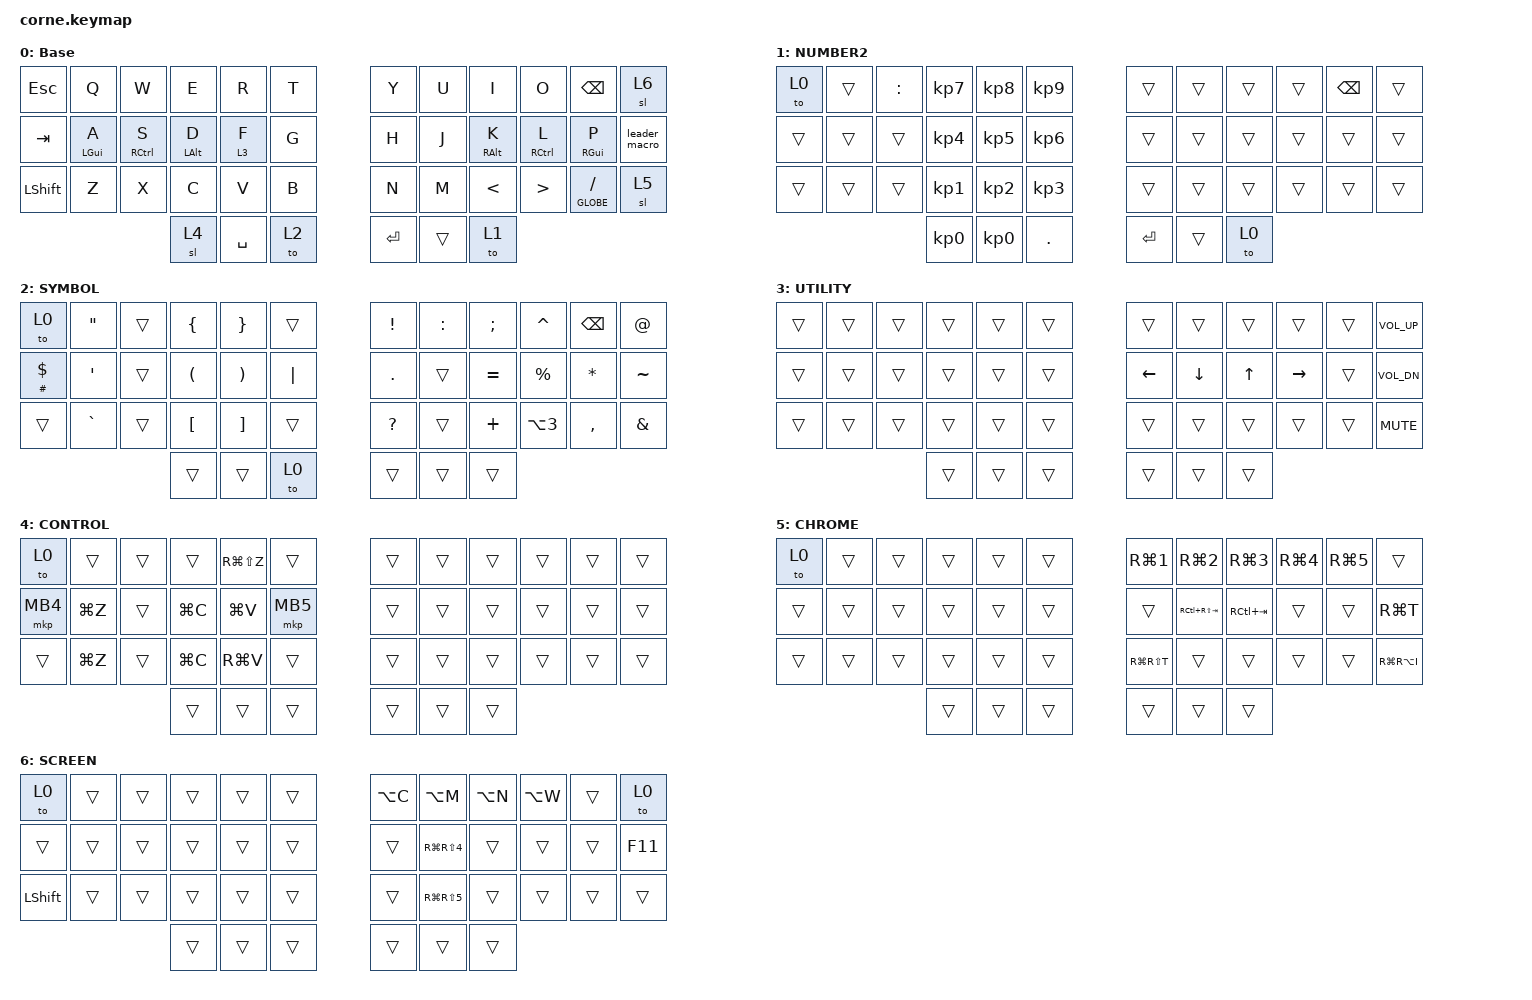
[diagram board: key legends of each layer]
/*
 * Copyright (c) 2020 The ZMK Contributors
 *
 * SPDX-License-Identifier: MIT
 *
 */

#include <behaviors.dtsi>
#include <dt-bindings/zmk/bt.h>
#include <dt-bindings/zmk/keys.h>
#include <dt-bindings/zmk/pointing.h>

/ {
    combos {
        compatible = "zmk,combos";

        bt_1 {
            bindings = <&bt BT_NXT>;
            key-positions = <1 2 3 4>;
            timeout-ms = <100>;
            require-prior-idle-ms = <250>;
        };

        bt_2 {
            bindings = <&bt BT_CLR>;
            key-positions = <28 27 26 25>;
            timeout-ms = <100>;
            require-prior-idle-ms = <250>;
        };

        cancel_term {
            bindings = <&kp LC(C)>;
            key-positions = <6 5>;
            timeout-ms = <50>;
        };

        zoom_plus {
            bindings = <&kp RG(PLUS)>;
            key-positions = <7 8 9>;
            timeout-ms = <100>;
            require-prior-idle-ms = <250>;
            layers = <0>;
        };

        zoom_out {
            bindings = <&kp RG(MINUS)>;
            key-positions = <31 32 33>;
            timeout-ms = <100>;
            require-prior-idle-ms = <250>;
            layers = <0>;
        };

        underscore {
            bindings = <&kp UNDER>;
            key-positions = <31 32>;
            layers = <2 0>;
            timeout-ms = <80>;
        };

        dash {
            bindings = <&kp MINUS>;
            key-positions = <7 8>;
            layers = <2 0>;
            timeout-ms = <80>;
        };

        forward_slash {
            bindings = <&kp SLASH>;
            key-positions = <19 8>;
            timeout-ms = <80>;
            layers = <2 0>;
        };

        back_slash {
            bindings = <&kp BACKSLASH>;
            key-positions = <7 20>;
            timeout-ms = <80>;
            layers = <2 0>;
        };
    };

    macros {
        copy_all: copy_all {
            compatible = "zmk,behavior-macro";
            #binding-cells = <0>;
            bindings = <&kp RG(A) &kp RG(C)>;
            label = "COPY_ALL";
        };

        arrow_right: arrow_right {
            compatible = "zmk,behavior-macro";
            #binding-cells = <0>;
            bindings = <&kp MINUS &kp GT>;
            label = "ARROW_RIGHT";
        };

        leader_macro: leader_macro {
            compatible = "zmk,behavior-macro";
            #binding-cells = <0>;
            bindings = <&kp RC(Z) &kp RC(B)>;
            label = "LEADER_MACRO";
        };

        toggle_vim: toggle_vim {
            compatible = "zmk,behavior-macro";
            #binding-cells = <0>;
            bindings = <&kp F18>;
            label = "TOGGLE_VIM";
        };
    };

    behaviors {
        tap_dance: tap_dance {
            compatible = "zmk,behavior-hold-tap";
            label = "TAP_DANCE";
            bindings = <&kp>, <&kp>;

            #binding-cells = <2>;
            tapping-term-ms = <250>;
            flavor = "tap-preferred";
            hold-trigger-key-positions = <24>;
        };

        Hrm: Hrm {
            compatible = "zmk,behavior-hold-tap";
            label = "HRM";
            bindings = <&kp>, <&kp>;

            #binding-cells = <2>;
            tapping-term-ms = <400>;
            flavor = "tap-preferred";
            quick-tap-ms = <400>;
            require-prior-idle-ms = <400>;
        };
    };

    keymap {
        compatible = "zmk,keymap";

        base {
            // -----------------------------------------------------------------------------------------
            // |  TAB |  Q  |  W  |  E  |  R  |  T  |   |  Y  |  U   |  I  |  O  |  P  | BKSP |
            // | CTRL |  A  |  S  |  D  |  F  |  G  |   |  H  |  J   |  K  |  L  |  ;  |  '   |
            // | SHFT |  Z  |  X  |  C  |  V  |  B  |   |  N  |  M   |  ,  |  .  |  /  | ESC  |
            //                    | GUI | LWR | SPC |   | ENT | RSE  | ALT |

            label = "Base";
            bindings = <
&kp ESC         &kp Q            &kp W         &kp E            &kp R      &kp T    &kp Y      &kp U   &kp I             &kp O             &kp BACKSPACE     &sl 6
&kp TAB         &Hrm LEFT_GUI A  &Hrm RCTRL S  &Hrm LEFT_ALT D  &lt 3 F    &kp G    &kp H      &kp J   &Hrm RIGHT_ALT K  &Hrm RCTRL L      &Hrm RIGHT_GUI P  &leader_macro
&kp LEFT_SHIFT  &kp Z            &kp X         &kp C            &kp V      &kp B    &kp N      &kp M   &kp LT            &kp GREATER_THAN  &mt GLOBE SLASH   &sl 5
                                               &sl 4            &kp SPACE  &to 2    &kp ENTER  &trans  &to 1
            >;
        };

        NUMBER2 {
            bindings = <
&to 0   &trans  &kp COLON  &kp KP_N7        &kp KP_N8        &kp KP_N9          &trans     &trans  &trans  &trans  &kp BACKSPACE  &trans
&trans  &trans  &trans     &kp KP_N4        &kp KP_NUMBER_5  &kp KP_NUMBER_6    &trans     &trans  &trans  &trans  &trans         &trans
&trans  &trans  &trans     &kp KP_N1        &kp KP_N2        &kp KP_N3          &trans     &trans  &trans  &trans  &trans         &trans
                           &kp KP_NUMBER_0  &kp KP_N0        &kp DOT            &kp ENTER  &trans  &to 0
            >;

            label = "NUMBER2";
        };

        SYMBOL {
            // -----------------------------------------------------------------------------------------
            // |  TAB |  !  |  @  |  #  |  $  |  %  |   |  ^  |  &  |  *  |  (  |  )  | BKSP |
            // | CTRL |     |     |     |     |     |   |  -  |  =  |  [  |  ]  |  \  |  `   |
            // | SHFT |     |     |     |     |     |   |  _  |  +  |  {  |  }  | "|" |  ~   |
            //                    | GUI |     | SPC |   | ENT |     | ALT |

            label = "SYMBOL";
            bindings = <
&to 0                   &kp DOUBLE_QUOTES  &trans  &kp LEFT_BRACE        &kp RIGHT_BRACE        &trans      &kp EXCLAMATION  &kp COLON  &kp SEMICOLON  &kp CARET         &kp BACKSPACE  &kp AT
&tap_dance HASH DOLLAR  &kp SINGLE_QUOTE   &trans  &kp LEFT_PARENTHESIS  &kp RIGHT_PARENTHESIS  &kp PIPE    &kp PERIOD       &trans     &kp EQUAL      &kp PERCENT       &kp ASTRK      &kp TILDE
&trans                  &kp GRAVE          &trans  &kp LEFT_BRACKET      &kp RIGHT_BRACKET      &trans      &kp QUESTION     &trans     &kp PLUS       &kp LA(NUMBER_3)  &kp COMMA      &kp AMPERSAND
                                                   &trans                &trans                 &to 0       &trans           &trans     &trans
            >;
        };

        UTILITY {
            // -----------------------------------------------------------------------------------------
            // |  TAB |  1  |  2  |  3  |  4  |  5  |   |  6  |  7  |  8  |  9  |  0  | BKSP |
            // | BTCLR| BT1 | BT2 | BT3 | BT4 | BT5 |   | LFT | DWN |  UP | RGT |     |      |
            // | SHFT |     |     |     |     |     |   |     |     |     |     |     |      |
            //                    |BTCLR|     | SPC |   | ENT |     | ALT |

            label = "UTILITY";
            bindings = <
&trans  &trans  &trans  &trans  &trans  &trans    &trans    &trans    &trans  &trans     &trans  &kp C_VOLUME_UP
&trans  &trans  &trans  &trans  &trans  &trans    &kp LEFT  &kp DOWN  &kp UP  &kp RIGHT  &trans  &kp C_VOL_DN
&trans  &trans  &trans  &trans  &trans  &trans    &trans    &trans    &trans  &trans     &trans  &kp K_MUTE
                        &trans  &trans  &trans    &trans    &trans    &trans
            >;
        };

        CONTROL {
            bindings = <
&to 0     &trans     &trans  &trans     &kp RG(LS(Z))  &trans      &trans  &trans  &trans  &trans  &trans  &trans
&mkp MB4  &kp LG(Z)  &trans  &kp LG(C)  &kp LG(V)      &mkp MB5    &trans  &trans  &trans  &trans  &trans  &trans
&trans    &kp LG(Z)  &trans  &kp LG(C)  &kp RG(V)      &trans      &trans  &trans  &trans  &trans  &trans  &trans
                             &trans     &trans         &trans      &trans  &trans  &trans
            >;

            label = "CONTROL";
        };

        CHROME {
            bindings = <
&to 0   &trans  &trans  &trans  &trans  &trans    &kp RG(NUMBER_1)  &kp RG(NUMBER_2)  &kp RG(NUMBER_3)  &kp RG(NUMBER_4)  &kp RG(N5)  &trans
&trans  &trans  &trans  &trans  &trans  &trans    &trans            &kp RC(RS(TAB))   &kp RC(TAB)       &trans            &trans      &kp RG(T)
&trans  &trans  &trans  &trans  &trans  &trans    &kp RG(RS(T))     &trans            &trans            &trans            &trans      &kp RG(RA(I))
                        &trans  &trans  &trans    &trans            &trans            &trans
            >;

            label = "CHROME";
        };

        SCREEN {
            bindings = <
&to 0           &trans  &trans  &trans  &trans  &trans    &kp LA(C)  &kp LA(M)             &kp LA(N)  &kp LA(W)  &trans  &to 0
&trans          &trans  &trans  &trans  &trans  &trans    &trans     &kp RG(RS(NUMBER_4))  &trans     &trans     &trans  &kp F11
&kp LEFT_SHIFT  &trans  &trans  &trans  &trans  &trans    &trans     &kp RG(RS(N5))        &trans     &trans     &trans  &trans
                                &trans  &trans  &trans    &trans     &trans                &trans
            >;

            label = "SCREEN";
        };
    };
};
